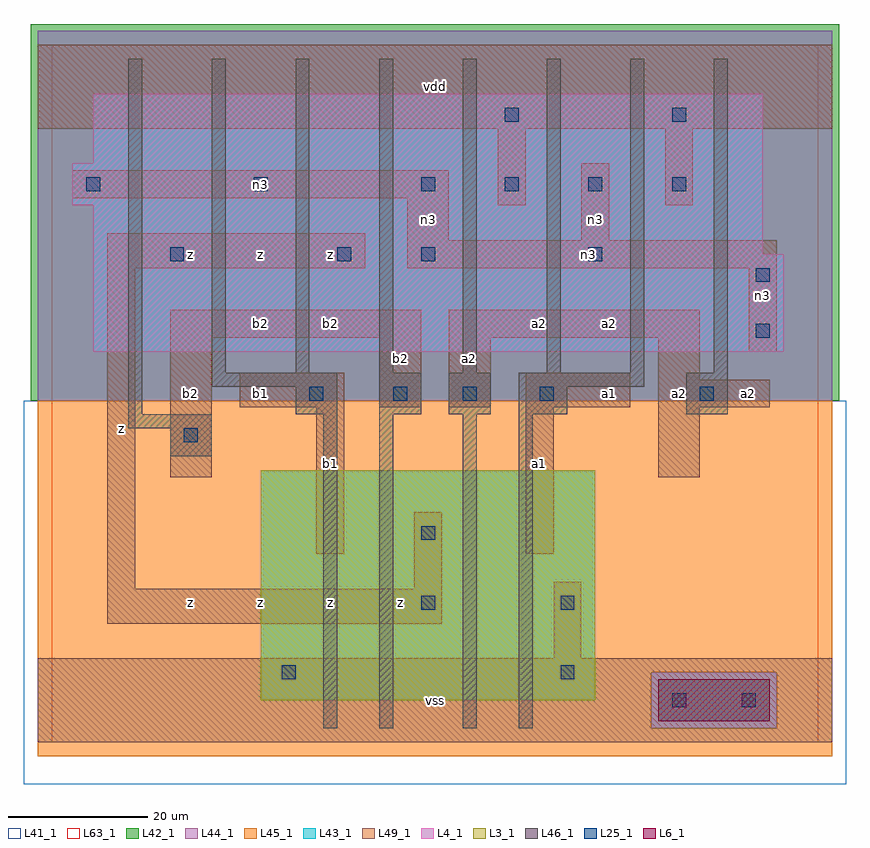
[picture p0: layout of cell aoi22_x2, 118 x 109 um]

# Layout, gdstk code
import gdstk
lib = gdstk.Library(unit=1e-6, precision=1e-09)
def R(c, l, rs):  # rectangles x0, y0, x1, y1
    for r in rs: c.add(gdstk.rectangle(r[:2], r[2:], *l))
def A(c, l, x, y, w, h, nx, ny, dx, dy):  # array of equal rectangles
    R(c, l, [(x+i*dx, y+j*dy, x+i*dx+w, y+j*dy+h) for i in range(nx) for j in range(ny)])
L3_1 = (3, 1)
L4_1 = (4, 1)
L6_1 = (6, 1)
L25_1 = (25, 1)
L41_1 = (41, 1)
L42_1 = (42, 1)
L43_1 = (43, 1)
L44_1 = (44, 1)
L45_1 = (45, 1)
L46_1 = (46, 1)
L49_1 = (49, 1)
L63_1 = (63, 1)

aoi22_x2 = lib.new_cell('aoi22_x2')
R(aoi22_x2, L3_1, [(30,6,78,39)])
R(aoi22_x2, L4_1, [(6,56,105,70), (6,70,102,77), (3,77,102,83), (6,83,102,93)])
R(aoi22_x2, L6_1, [(87,3,103,9)])
A(aoi22_x2, L25_1, 5, 79, 2, 2, 3, 1, 24, 0)
A(aoi22_x2, L25_1, 65, 79, 2, 2, 3, 1, 12, 0)
R(aoi22_x2, L25_1, [(89,5,91,7), (99,5,101,7), (33,9,35,11), (73,9,75,11), (53,19,55,21), (73,19,75,21), (53,29,55,31), (19,43,21,45), (37,49,39,51), (49,49,51,51), (59,49,61,51), (70,49,72,51), (93,49,95,51), (101,58,103,60), (101,66,103,68), (17,69,19,71), (41,69,43,71), (53,69,55,71), (77,69,79,71), (65,89,67,91), (89,89,91,91)])
R(aoi22_x2, L41_1, [(-4,-6,114,49), (-3,-3,113,49)])
R(aoi22_x2, L42_1, [(-3,49,113,103)])
R(aoi22_x2, L43_1, [(87,3,103,9), (30,6,78,39), (6,56,105,70), (6,70,102,77), (3,77,102,83), (6,83,102,93)])
R(aoi22_x2, L44_1, [(86,2,104,10), (-2,49,112,102)])
R(aoi22_x2, L45_1, [(-2,-2,112,2), (-2,2,86,10), (104,2,112,10), (-2,10,112,49)])
A(aoi22_x2, L46_1, 23, 53, 2, 45, 7, 1, 12, 0)
R(aoi22_x2, L46_1, [(39,2,41,47), (47,2,49,47), (59,2,61,47), (67,2,69,47), (17,41,23,45), (11,45,23,47), (11,47,13,98), (35,47,41,51), (47,47,53,53), (57,47,63,53), (67,47,74,51), (91,47,97,53), (23,51,41,53), (67,51,85,53)])
R(aoi22_x2, L49_1, [(-2,0,112,12), (72,12,76,23), (8,17,56,22), (8,22,12,68), (52,22,56,33), (38,27,42,48), (68,27,72,48), (17,38,23,58), (87,38,93,48), (27,48,42,53), (47,48,53,58), (57,48,63,58), (68,48,83,53), (87,48,103,52), (87,52,93,58), (100,56,104,68), (17,58,53,62), (57,58,93,62), (8,68,45,73), (51,68,104,72), (51,72,57,78), (76,72,80,83), (64,77,68,88), (88,77,92,88), (3,78,57,82), (-2,88,112,100)])
R(aoi22_x2, L63_1, [(0,0,110,100)])
aoi22_x2.add(gdstk.Label('z', (10,45), layer=49, texttype=1))
aoi22_x2.add(gdstk.Label('z', (10,45), layer=49, texttype=1))
aoi22_x2.add(gdstk.Label('z', (40,20), layer=49, texttype=1))
aoi22_x2.add(gdstk.Label('z', (30,20), layer=49, texttype=1))
aoi22_x2.add(gdstk.Label('z', (30,20), layer=49, texttype=1))
aoi22_x2.add(gdstk.Label('z', (40,20), layer=49, texttype=1))
aoi22_x2.add(gdstk.Label('z', (20,20), layer=49, texttype=1))
aoi22_x2.add(gdstk.Label('z', (20,20), layer=49, texttype=1))
aoi22_x2.add(gdstk.Label('b1', (40,40), layer=49, texttype=1))
aoi22_x2.add(gdstk.Label('b1', (40,40), layer=49, texttype=1))
aoi22_x2.add(gdstk.Label('b2', (20,50), layer=49, texttype=1))
aoi22_x2.add(gdstk.Label('b2', (20,50), layer=49, texttype=1))
aoi22_x2.add(gdstk.Label('b1', (30,50), layer=49, texttype=1))
aoi22_x2.add(gdstk.Label('b1', (30,50), layer=49, texttype=1))
aoi22_x2.add(gdstk.Label('b2', (40,60), layer=49, texttype=1))
aoi22_x2.add(gdstk.Label('b2', (30,60), layer=49, texttype=1))
aoi22_x2.add(gdstk.Label('b2', (30,60), layer=49, texttype=1))
aoi22_x2.add(gdstk.Label('b2', (40,60), layer=49, texttype=1))
aoi22_x2.add(gdstk.Label('z', (20,70), layer=49, texttype=1))
aoi22_x2.add(gdstk.Label('z', (20,70), layer=49, texttype=1))
aoi22_x2.add(gdstk.Label('z', (40,70), layer=49, texttype=1))
aoi22_x2.add(gdstk.Label('z', (30,70), layer=49, texttype=1))
aoi22_x2.add(gdstk.Label('z', (40,70), layer=49, texttype=1))
aoi22_x2.add(gdstk.Label('z', (30,70), layer=49, texttype=1))
aoi22_x2.add(gdstk.Label('vss', (55,6), layer=49, texttype=1))
aoi22_x2.add(gdstk.Label('vss', (55,6), layer=49, texttype=1))
aoi22_x2.add(gdstk.Label('z', (50,20), layer=49, texttype=1))
aoi22_x2.add(gdstk.Label('z', (50,20), layer=49, texttype=1))
aoi22_x2.add(gdstk.Label('a2', (60,55), layer=49, texttype=1))
aoi22_x2.add(gdstk.Label('b2', (50,55), layer=49, texttype=1))
aoi22_x2.add(gdstk.Label('b2', (50,55), layer=49, texttype=1))
aoi22_x2.add(gdstk.Label('a2', (60,55), layer=49, texttype=1))
aoi22_x2.add(gdstk.Label('n3', (54,75), layer=49, texttype=1))
aoi22_x2.add(gdstk.Label('n3', (30,80), layer=49, texttype=1))
aoi22_x2.add(gdstk.Label('vdd', (55,94), layer=49, texttype=1))
aoi22_x2.add(gdstk.Label('vdd', (55,94), layer=49, texttype=1))
aoi22_x2.add(gdstk.Label('a1', (70,40), layer=49, texttype=1))
aoi22_x2.add(gdstk.Label('a1', (70,40), layer=49, texttype=1))
aoi22_x2.add(gdstk.Label('a1', (80,50), layer=49, texttype=1))
aoi22_x2.add(gdstk.Label('a1', (80,50), layer=49, texttype=1))
aoi22_x2.add(gdstk.Label('a2', (80,60), layer=49, texttype=1))
aoi22_x2.add(gdstk.Label('a2', (80,60), layer=49, texttype=1))
aoi22_x2.add(gdstk.Label('a2', (70,60), layer=49, texttype=1))
aoi22_x2.add(gdstk.Label('a2', (70,60), layer=49, texttype=1))
aoi22_x2.add(gdstk.Label('n3', (78,75), layer=49, texttype=1))
aoi22_x2.add(gdstk.Label('a2', (90,50), layer=49, texttype=1))
aoi22_x2.add(gdstk.Label('a2', (90,50), layer=49, texttype=1))
aoi22_x2.add(gdstk.Label('a2', (100,50), layer=49, texttype=1))
aoi22_x2.add(gdstk.Label('a2', (100,50), layer=49, texttype=1))
aoi22_x2.add(gdstk.Label('n3', (102,64), layer=49, texttype=1))
aoi22_x2.add(gdstk.Label('n3', (77,70), layer=49, texttype=1))

lib.write_gds('aoi22_x2.gds')
